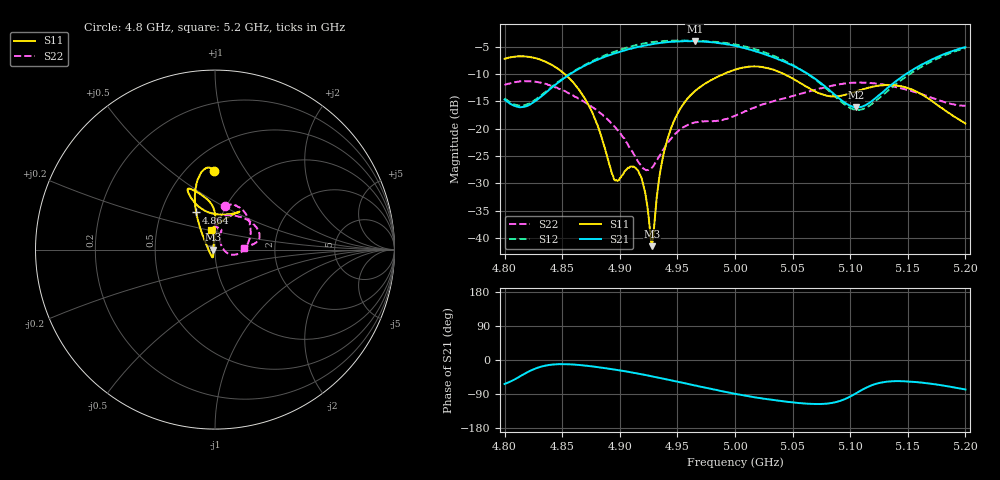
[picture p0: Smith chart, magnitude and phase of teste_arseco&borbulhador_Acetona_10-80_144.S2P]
! Network Analyzer HP8722D
! Hewlett-Packard
! Data name: Linha & Wilkinson
! Saver's name: Rodrigo Anjos
! Comments: Teste da utilização de aquisição
! continua pelo VNA HP8722D
! Time and date: 25/4/2025 16:28
!  Frequency  S11  S21  S12  S22
# HZ  S  MA R 50
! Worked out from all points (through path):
!   401 points, 4.8 GHz to 5.2 GHz, reference 50 ohm
!   highest |S21| = -3.98 dB at 4.965 GHz (marker M1); lowest = -16.1 dB at 5.105 GHz (marker M2)
!   lowest |S11| = -41.5 dB at 4.928 GHz (marker M3), VSWR 1.02, Z = 49.2 + j0.00895 ohm
!   |S11| at or under -10 dB: 4.852 GHz to 4.99 GHz (138.1 MHz wide, 2.81 % of centre); 5.042 GHz to end of sweep
!   |S22| runs from -27.6 to -11.3 dB; largest |S21 - S12| = 1.2
!   S11 on the Smith chart (normalised r, x): 4.8 GHz: 0.68, +0.73; 4.864 GHz: 0.75, +0.33; 5.2 GHz: 0.94, +0.21
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4.8e9  0.4353 90.6  0.1847 -63.3  0.1896 70.1  0.2498 76.7
4.82e9  0.4534 97.0  0.1621 -31.8  0.168 99.0  0.2711 61.2
4.844e9  0.3657 106.9  0.2519 -11.5  0.255 119.2  0.2376 35.6
4.864e9  0.2317 116.8  0.3512 -12.9  0.3542 120.9  0.1887 11.6
4.867e9  0.2086 118.6  0.3643 -13.9  0.3692 120.6  0.1817 8.3
4.88e9  0.1118 129.3  0.424 -18.6  0.4339 118.1  0.1474 -5.5
4.895e9  0.03448 -174.5  0.4868 -25.0  0.5027 113.6  0.1056 -15.8
4.91e9  0.04521 -108.7  0.5382 -32.6  0.565 106.9  0.06351 -13.5
4.917e9  0.03873 -105.8  0.561 -36.5  0.5895 103.3  0.04813 -0.6
4.921e9  0.02883 -110.2  0.5744 -38.9  0.6017 101.2  0.04291 13.6
4.928e9  0.008451 179.4  0.5912 -43.1  0.6181 96.9  0.04425 41.9
4.934e9  0.03414 101.7  0.6038 -46.8  0.6291 93.1  0.05558 58.7
4.939e9  0.06498 94.1  0.6139 -50.0  0.6339 89.8  0.06756 65.4
4.946e9  0.1107 90.2  0.624 -54.7  0.6383 85.5  0.08518 69.8
4.965e9  0.2194 91.2  0.6325 -67.2  0.6363 73.2  0.1142 71.4
5e9  0.3464 109.1  0.5728 -89.2  0.5906 50.5  0.1315 88.3
5.029e9  0.3564 115.1  0.4658 -103.8  0.4848 34.1  0.1734 85.5
5.067e9  0.2262 105.2  0.2981 -115.8  0.296 23.6  0.2227 56.9
5.105e9  0.2185 65.3  0.1562 -88.1  0.1485 55.0  0.2631 25.3
5.134e9  0.2505 57.4  0.243 -56.6  0.2285 88.8  0.2477 12.2
5.169e9  0.1855 70.3  0.4196 -62.3  0.4037 84.7  0.1948 6.8
5.2e9  0.1115 100.8  0.5557 -77.8  0.5458 69.9  0.1616 3.6
